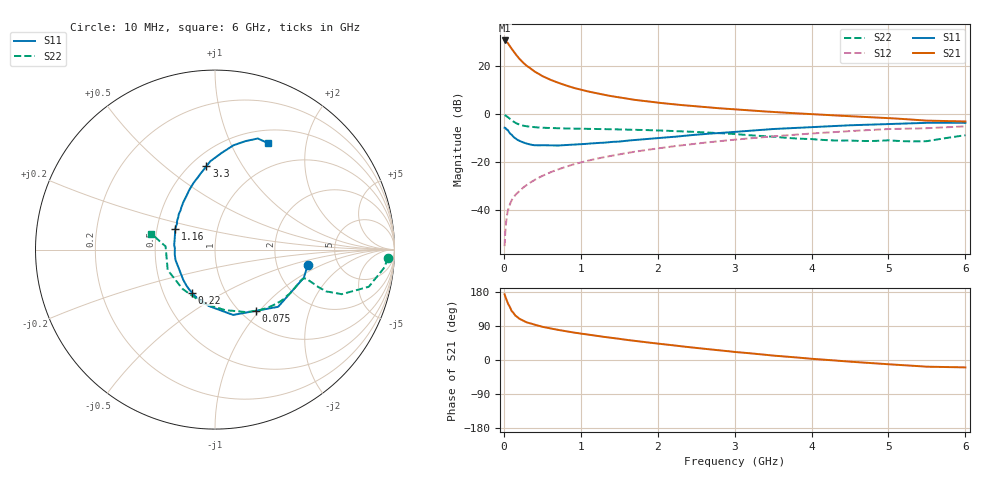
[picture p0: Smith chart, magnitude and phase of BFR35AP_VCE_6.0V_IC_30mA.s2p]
! Infineon Technologies  Discrete & RF Semiconductors
! BFR35AP
! VCE =  6.0 V,  IC =  30 mA
! Common Emitter S-Parameters:  Nov 2015
# GHz  S  MA  R  50
!  f  S11  S21  S12  S22
! GHz  MAG  ANG  MAG  ANG  MAG  ANG  MAG  ANG
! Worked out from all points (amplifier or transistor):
!   210 points, 10 MHz to 6 GHz, reference 50 ohm
!   highest |S21| = 30.7 dB at 10 MHz (marker M1)
!   |S21| within 3 dB of that: start of sweep to 91.61 MHz
!   unconditionally stable (mu >= 1): 301.1 MHz to 2.763 GHz
!   at 185 MHz: K = 0.83, MSG = 28.1 dB, |S12| = -32.5 dB
!   at 1.52 GHz: K = 1.11, MAG = 9.7 dB, |S12| = -16.6 dB
!   at 6 GHz: K = 0.94, MSG = 1.0 dB, |S12| = -5.0 dB
!   S11 on the Smith chart (normalised r, x): 10 MHz: 3.03, -0.69; 75 MHz: 1.16, -0.95; 220 MHz: 0.70, -0.36; 1.16 GHz: 0.62, +0.15; 3.3 GHz: 0.60, +0.71; 6 GHz: 0.66, +1.40
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0.01  0.5249 -9.1  34.34 173.2  0.0018 94.2  0.9643 -2.7
0.02  0.5191 -17.6  33.68 166.8  0.0038 83.1  0.9492 -6.0
0.05  0.4746 -42.2  30.55 149.9  0.0096 74.8  0.8812 -13.6
0.075  0.4096 -56.5  26.54 141.2  0.0128 70.3  0.8136 -16.3
0.1  0.3778 -74.5  23.35 129.8  0.0161 67.6  0.748 -19.4
0.15  0.3158 -96.5  18.02 117.0  0.021 66.9  0.662 -20.6
0.2  0.2819 -113.4  14.38 109.1  0.0249 68.0  0.6113 -19.9
0.22  0.272 -118.1  13.36 107.0  0.0268 68.4  0.5985 -19.6
0.26  0.2571 -127.8  11.5 102.6  0.0306 69.1  0.5756 -18.9
0.3  0.2447 -136.1  10.11 99.1  0.034 70.2  0.5603 -18.5
0.4  0.2269 -152.5  7.745 93.0  0.043 71.4  0.5375 -17.8
0.5  0.2276 -165.1  6.238 87.6  0.0521 72.8  0.5244 -17.8
0.7  0.2236 178.3  4.561 79.6  0.0707 73.1  0.5121 -19.0
1.02  0.2382 159.4  3.187 69.2  0.1011 71.6  0.4994 -22.8
1.16  0.249 152.7  2.837 65.2  0.1146 70.9  0.4949 -24.9
1.6  0.2826 135.5  2.115 53.0  0.1563 67.2  0.4785 -32.1
2.02  0.3218 122.6  1.732 42.9  0.1965 63.3  0.4594 -40.0
3.1  0.4413 99.2  1.233 19.6  0.3059 51.4  0.3764 -66.7
3.3  0.4665 95.9  1.172 15.8  0.326 48.7  0.3563 -73.4
4.1  0.5499 84.7  0.986 1.8  0.4074 38.5  0.2958 -108.1
5.1  0.6339 73.3  0.815 -12.5  0.4954 23.3  0.28 -161.8
6  0.6625 63.5  0.709 -19.5  0.5599 11.8  0.3667 165.9
